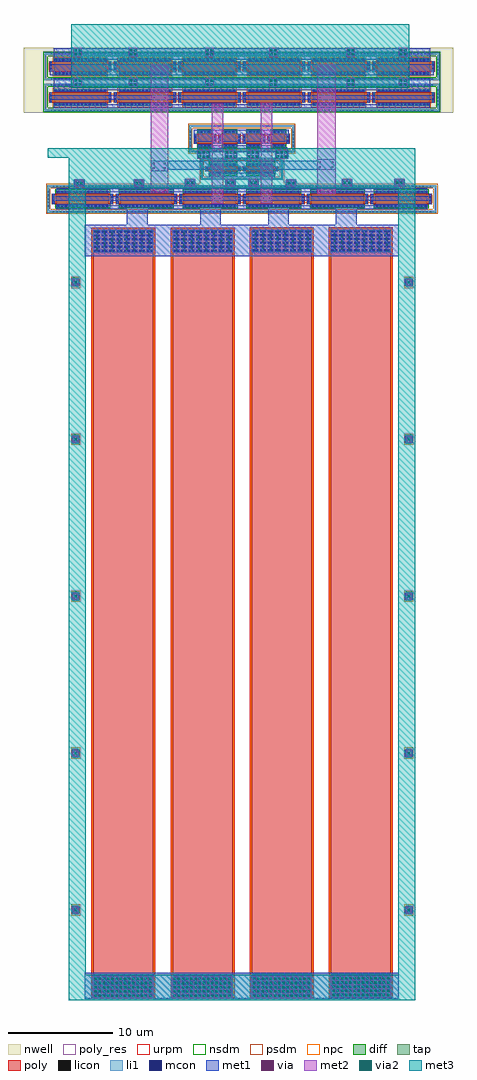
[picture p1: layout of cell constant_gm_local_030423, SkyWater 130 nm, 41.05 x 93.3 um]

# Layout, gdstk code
import gdstk
lib = gdstk.Library(unit=1e-6, precision=1e-09)
def R(c, l, rs):  # rectangles x0, y0, x1, y1
    for r in rs: c.add(gdstk.rectangle(r[:2], r[2:], *l))
def A(c, l, x, y, w, h, nx, ny, dx, dy):  # array of equal rectangles
    R(c, l, [(x+i*dx, y+j*dy, x+i*dx+w, y+j*dy+h) for i in range(nx) for j in range(ny)])
nwell = (64, 20)
diff = (65, 20)
tap = (65, 44)
poly_res = (66, 13)
poly = (66, 20)
licon = (66, 44)
li1 = (67, 20)
mcon = (67, 44)
met1 = (68, 20)
via = (68, 44)
met2 = (69, 20)
via2 = (69, 44)
met3 = (70, 20)
urpm = (79, 20)
nsdm = (93, 44)
psdm = (94, 20)
npc = (95, 20)

constant_gm_local_030423 = lib.new_cell('constant_gm_local_030423')
R(constant_gm_local_030423, nwell, [(-19.05,9.7,19.04,9.705), (-20.85,9.705,20.2,15.91)])
A(constant_gm_local_030423, diff, -17.725, 0.69, 5, 1.58, 6, 1, 6.09, 0)
A(constant_gm_local_030423, diff, -4.15, 6.44, 1.25, 1.58, 4, 1, 2.34, 0)
A(constant_gm_local_030423, diff, -17.955, 10.39, 5, 1.58, 6, 2, 6.18, 2.95)
R(constant_gm_local_030423, diff, [(-3.05,3.815,-0.55,4.895), (0.54,3.815,3.04,4.895)])
A(constant_gm_local_030423, tap, -16.2, -66.92, 0.6, 0.84, 1, 5, 0, 15)
A(constant_gm_local_030423, tap, 15.65, -66.92, 0.6, 0.84, 1, 5, 0, 15)
R(constant_gm_local_030423, tap, [(-18.595,0.18,18.595,0.35), (-18.595,0.35,-18.425,2.61), (18.425,0.35,18.595,2.61), (-18.595,2.61,18.595,2.78), (-3.92,3.305,3.91,3.475), (-3.92,3.475,-3.75,5.235), (3.74,3.475,3.91,5.235), (-3.92,5.235,3.91,5.405), (-5.02,5.93,4.99,6.1), (-5.02,6.1,-4.85,8.36), (4.82,6.1,4.99,8.36), (-5.02,8.36,4.99,8.53), (-18.87,9.88,18.86,10.05), (-18.87,10.05,-18.7,12.31), (18.69,10.05,18.86,12.31), (-18.87,12.31,18.86,12.48), (-18.87,12.83,18.86,13), (-18.87,13,-18.7,15.26), (18.69,13,18.86,15.26), (-18.87,15.26,18.86,15.43)])
R(constant_gm_local_030423, poly_res, [(-14.215,-72.7,-8.485,-3.58), (-6.615,-72.7,-0.885,-3.58), (0.935,-72.67,6.665,-3.55), (8.485,-72.67,14.215,-3.55)])
A(constant_gm_local_030423, poly, -18.165, 0.98, 5.88, 1, 6, 1, 6.09, 0)
A(constant_gm_local_030423, poly, -4.59, 6.73, 2.13, 1, 4, 1, 2.34, 0)
A(constant_gm_local_030423, poly, -18.44, 10.68, 5.97, 1, 6, 2, 6.18, 2.95)
R(constant_gm_local_030423, poly, [(-14.215,-74.8,-8.485,-1.48), (-6.615,-74.8,-0.885,-1.48), (0.935,-74.77,6.665,-1.45), (8.485,-74.77,14.215,-1.45), (-3.49,4.105,-0.11,4.605), (0.1,4.105,3.48,4.605)])
A(constant_gm_local_030423, licon, -13.93, -74.72, 0.19, 2, 8, 2, 0.71, 71.16)
A(constant_gm_local_030423, licon, -6.33, -74.72, 0.19, 2, 8, 2, 0.71, 71.16)
A(constant_gm_local_030423, licon, 1.22, -74.69, 0.19, 2, 8, 2, 0.71, 71.16)
A(constant_gm_local_030423, licon, 8.77, -74.69, 0.19, 2, 8, 2, 0.71, 71.16)
A(constant_gm_local_030423, licon, -18.105, 0.18, 0.17, 0.17, 107, 2, 0.34, 2.43)
A(constant_gm_local_030423, licon, -18.595, 0.715, 0.17, 0.17, 1, 5, 0, 0.34)
A(constant_gm_local_030423, licon, 18.425, 0.715, 0.17, 0.17, 1, 5, 0, 0.34)
A(constant_gm_local_030423, licon, -17.52, 0.75, 0.17, 0.17, 14, 2, 0.34, 1.29)
A(constant_gm_local_030423, licon, -11.43, 0.75, 0.17, 0.17, 14, 2, 0.34, 1.29)
A(constant_gm_local_030423, licon, -5.34, 0.75, 0.17, 0.17, 14, 2, 0.34, 1.29)
A(constant_gm_local_030423, licon, 0.75, 0.75, 0.17, 0.17, 14, 2, 0.34, 1.29)
A(constant_gm_local_030423, licon, 6.84, 0.75, 0.17, 0.17, 14, 2, 0.34, 1.29)
A(constant_gm_local_030423, licon, 12.93, 0.75, 0.17, 0.17, 14, 2, 0.34, 1.29)
A(constant_gm_local_030423, licon, -3.32, 3.305, 0.17, 0.17, 20, 2, 0.34, 1.93)
A(constant_gm_local_030423, licon, -2.905, 3.875, 0.17, 0.17, 7, 2, 0.34, 0.79)
A(constant_gm_local_030423, licon, 0.685, 3.875, 0.17, 0.17, 7, 2, 0.34, 0.79)
A(constant_gm_local_030423, licon, -3.92, 3.93, 0.17, 0.17, 1, 3, 0, 0.34)
A(constant_gm_local_030423, licon, 3.74, 3.93, 0.17, 0.17, 1, 3, 0, 0.34)
A(constant_gm_local_030423, licon, -4.52, 5.93, 0.17, 0.17, 27, 2, 0.34, 2.43)
A(constant_gm_local_030423, licon, -5.02, 6.465, 0.17, 0.17, 1, 5, 0, 0.34)
A(constant_gm_local_030423, licon, 4.82, 6.465, 0.17, 0.17, 1, 5, 0, 0.34)
A(constant_gm_local_030423, licon, -3.95, 6.5, 0.17, 0.17, 3, 2, 0.34, 1.29)
A(constant_gm_local_030423, licon, -1.61, 6.5, 0.17, 0.17, 3, 2, 0.34, 1.29)
A(constant_gm_local_030423, licon, 0.73, 6.5, 0.17, 0.17, 3, 2, 0.34, 1.29)
A(constant_gm_local_030423, licon, 3.07, 6.5, 0.17, 0.17, 3, 2, 0.34, 1.29)
A(constant_gm_local_030423, licon, -18.28, 9.88, 0.17, 0.17, 108, 2, 0.34, 2.43)
A(constant_gm_local_030423, licon, -18.87, 10.415, 0.17, 0.17, 1, 5, 0, 0.34)
A(constant_gm_local_030423, licon, 18.69, 10.415, 0.17, 0.17, 1, 5, 0, 0.34)
A(constant_gm_local_030423, licon, -17.75, 10.45, 0.17, 0.17, 14, 2, 0.34, 1.29)
A(constant_gm_local_030423, licon, -11.57, 10.45, 0.17, 0.17, 14, 2, 0.34, 1.29)
A(constant_gm_local_030423, licon, -5.39, 10.45, 0.17, 0.17, 14, 2, 0.34, 1.29)
A(constant_gm_local_030423, licon, 0.79, 10.45, 0.17, 0.17, 14, 2, 0.34, 1.29)
A(constant_gm_local_030423, licon, 6.97, 10.45, 0.17, 0.17, 14, 2, 0.34, 1.29)
A(constant_gm_local_030423, licon, 13.15, 10.45, 0.17, 0.17, 14, 2, 0.34, 1.29)
A(constant_gm_local_030423, licon, -18.28, 12.83, 0.17, 0.17, 108, 2, 0.34, 2.43)
A(constant_gm_local_030423, licon, -18.87, 13.365, 0.17, 0.17, 1, 5, 0, 0.34)
A(constant_gm_local_030423, licon, 18.69, 13.365, 0.17, 0.17, 1, 5, 0, 0.34)
A(constant_gm_local_030423, licon, -17.75, 13.4, 0.17, 0.17, 14, 2, 0.34, 1.29)
A(constant_gm_local_030423, licon, -11.57, 13.4, 0.17, 0.17, 14, 2, 0.34, 1.29)
A(constant_gm_local_030423, licon, -5.39, 13.4, 0.17, 0.17, 14, 2, 0.34, 1.29)
A(constant_gm_local_030423, licon, 0.79, 13.4, 0.17, 0.17, 14, 2, 0.34, 1.29)
A(constant_gm_local_030423, licon, 6.97, 13.4, 0.17, 0.17, 14, 2, 0.34, 1.29)
A(constant_gm_local_030423, licon, 13.15, 13.4, 0.17, 0.17, 14, 2, 0.34, 1.29)
R(constant_gm_local_030423, licon, [(-16.155,-66.755,-15.985,-66.585), (-15.815,-66.755,-15.645,-66.585), (15.695,-66.755,15.865,-66.585), (16.035,-66.755,16.205,-66.585), (-16.155,-66.415,-15.985,-66.245), (-15.815,-66.415,-15.645,-66.245), (15.695,-66.415,15.865,-66.245), (16.035,-66.415,16.205,-66.245), (-16.155,-51.755,-15.985,-51.585), (-15.815,-51.755,-15.645,-51.585), (15.695,-51.755,15.865,-51.585), (16.035,-51.755,16.205,-51.585), (-16.155,-51.415,-15.985,-51.245), (-15.815,-51.415,-15.645,-51.245), (15.695,-51.415,15.865,-51.245), (16.035,-51.415,16.205,-51.245), (-16.155,-36.755,-15.985,-36.585), (-15.815,-36.755,-15.645,-36.585), (15.695,-36.755,15.865,-36.585), (16.035,-36.755,16.205,-36.585), (-16.155,-36.415,-15.985,-36.245), (-15.815,-36.415,-15.645,-36.245), (15.695,-36.415,15.865,-36.245), (16.035,-36.415,16.205,-36.245), (-16.155,-21.755,-15.985,-21.585), (-15.815,-21.755,-15.645,-21.585), (15.695,-21.755,15.865,-21.585), (16.035,-21.755,16.205,-21.585), (-16.155,-21.415,-15.985,-21.245), (-15.815,-21.415,-15.645,-21.245), (15.695,-21.415,15.865,-21.245), (16.035,-21.415,16.205,-21.245), (-16.155,-6.755,-15.985,-6.585), (-15.815,-6.755,-15.645,-6.585), (15.695,-6.755,15.865,-6.585), (16.035,-6.755,16.205,-6.585), (-16.155,-6.415,-15.985,-6.245), (-15.815,-6.415,-15.645,-6.245), (15.695,-6.415,15.865,-6.245), (16.035,-6.415,16.205,-6.245), (-18.085,1.225,-17.915,1.395), (-12.535,1.225,-12.365,1.395), (-11.995,1.225,-11.825,1.395), (-6.445,1.225,-6.275,1.395), (-5.905,1.225,-5.735,1.395), (-0.355,1.225,-0.185,1.395), (0.185,1.225,0.355,1.395), (5.735,1.225,5.905,1.395), (6.275,1.225,6.445,1.395), (11.825,1.225,11.995,1.395), (12.365,1.225,12.535,1.395), (17.915,1.225,18.085,1.395), (-18.085,1.565,-17.915,1.735), (-12.535,1.565,-12.365,1.735), (-11.995,1.565,-11.825,1.735), (-6.445,1.565,-6.275,1.735), (-5.905,1.565,-5.735,1.735), (-0.355,1.565,-0.185,1.735), (0.185,1.565,0.355,1.735), (5.735,1.565,5.905,1.735), (6.275,1.565,6.445,1.735), (11.825,1.565,11.995,1.735), (12.365,1.565,12.535,1.735), (17.915,1.565,18.085,1.735), (-3.41,4.27,-3.24,4.44), (-0.36,4.27,-0.19,4.44), (0.18,4.27,0.35,4.44), (3.23,4.27,3.4,4.44), (-4.51,6.975,-4.34,7.145), (-2.71,6.975,-2.54,7.145), (-2.17,6.975,-2,7.145), (-0.37,6.975,-0.2,7.145), (0.17,6.975,0.34,7.145), (1.97,6.975,2.14,7.145), (2.51,6.975,2.68,7.145), (4.31,6.975,4.48,7.145), (-4.51,7.315,-4.34,7.485), (-2.71,7.315,-2.54,7.485), (-2.17,7.315,-2,7.485), (-0.37,7.315,-0.2,7.485), (0.17,7.315,0.34,7.485), (1.97,7.315,2.14,7.485), (2.51,7.315,2.68,7.485), (4.31,7.315,4.48,7.485), (-18.36,10.925,-18.19,11.095), (-12.72,10.925,-12.55,11.095), (-12.18,10.925,-12.01,11.095), (-6.54,10.925,-6.37,11.095), (-6,10.925,-5.83,11.095), (-0.36,10.925,-0.19,11.095), (0.18,10.925,0.35,11.095), (5.82,10.925,5.99,11.095), (6.36,10.925,6.53,11.095), (12,10.925,12.17,11.095), (12.54,10.925,12.71,11.095), (18.18,10.925,18.35,11.095), (-18.36,11.265,-18.19,11.435), (-12.72,11.265,-12.55,11.435), (-12.18,11.265,-12.01,11.435), (-6.54,11.265,-6.37,11.435), (-6,11.265,-5.83,11.435), (-0.36,11.265,-0.19,11.435), (0.18,11.265,0.35,11.435), (5.82,11.265,5.99,11.435), (6.36,11.265,6.53,11.435), (12,11.265,12.17,11.435), (12.54,11.265,12.71,11.435), (18.18,11.265,18.35,11.435), (-18.36,13.875,-18.19,14.045), (-12.72,13.875,-12.55,14.045), (-12.18,13.875,-12.01,14.045), (-6.54,13.875,-6.37,14.045), (-6,13.875,-5.83,14.045), (-0.36,13.875,-0.19,14.045), (0.18,13.875,0.35,14.045), (5.82,13.875,5.99,14.045), (6.36,13.875,6.53,14.045), (12,13.875,12.17,14.045), (12.54,13.875,12.71,14.045), (18.18,13.875,18.35,14.045), (-18.36,14.215,-18.19,14.385), (-12.72,14.215,-12.55,14.385), (-12.18,14.215,-12.01,14.385), (-6.54,14.215,-6.37,14.385), (-6,14.215,-5.83,14.385), (-0.36,14.215,-0.19,14.385), (0.18,14.215,0.35,14.385), (5.82,14.215,5.99,14.385), (6.36,14.215,6.53,14.385), (12,14.215,12.17,14.385), (12.54,14.215,12.71,14.385), (18.18,14.215,18.35,14.385)])
A(constant_gm_local_030423, li1, -16.2, -66.88, 0.6, 0.76, 1, 5, 0, 15)
A(constant_gm_local_030423, li1, 15.65, -66.88, 0.6, 0.76, 1, 5, 0, 15)
A(constant_gm_local_030423, li1, -17.745, 0.75, 5.04, 0.17, 6, 2, 6.09, 1.29)
A(constant_gm_local_030423, li1, -4.17, 6.5, 1.29, 0.17, 4, 2, 2.34, 1.29)
A(constant_gm_local_030423, li1, -17.975, 10.45, 5.04, 0.17, 6, 2, 6.18, 1.29)
A(constant_gm_local_030423, li1, -17.975, 13.4, 5.04, 0.17, 6, 2, 6.18, 1.29)
R(constant_gm_local_030423, li1, [(-14.215,-74.8,-8.485,-72.64), (-6.615,-74.8,-0.885,-72.64), (0.935,-74.77,6.665,-72.61), (8.485,-74.77,14.215,-72.61), (-14.215,-3.64,-8.485,-1.48), (-6.615,-3.64,-0.885,-1.48), (0.935,-3.61,6.665,-1.45), (8.485,-3.61,14.215,-1.45), (-18.595,0.18,18.595,0.35), (-18.595,0.35,-18.425,2.61), (18.425,0.35,18.595,2.61), (-18.085,0.98,-17.915,1.98), (-12.535,0.98,-12.365,1.98), (-11.995,0.98,-11.825,1.98), (-6.445,0.98,-6.275,1.98), (-5.905,0.98,-5.735,1.98), (-0.355,0.98,-0.185,1.98), (0.185,0.98,0.355,1.98), (5.735,0.98,5.905,1.98), (6.275,0.98,6.445,1.98), (11.825,0.98,11.995,1.98), (12.365,0.98,12.535,1.98), (17.915,0.98,18.085,1.98), (-18.595,2.61,18.595,2.78), (-16,2.78,-15.1,3.3), (-10.3,2.78,-9.4,3.3), (-5.4,2.78,-4.5,3.35), (-1.55,2.78,-0.65,3.305), (0.65,2.78,1.55,3.305), (4.25,2.78,5.15,3.3), (9.6,2.78,10.5,3.35), (14.6,2.78,15.5,3.35), (-3.92,3.305,3.91,3.475), (-3.92,3.475,-3.75,5.235), (3.74,3.475,3.91,5.235), (-3.07,3.875,-0.53,4.045), (0.52,3.875,3.06,4.045), (-3.41,4.105,-3.24,4.605), (-0.36,4.105,-0.19,4.605), (0.18,4.105,0.35,4.605), (3.23,4.105,3.4,4.605), (-3.07,4.665,-0.53,4.835), (0.52,4.665,3.06,4.835), (-3.92,5.235,3.91,5.35), (-4.2,5.35,4.35,5.405), (-4.2,5.405,-3.1,5.93), (-1.6,5.405,-0.5,5.93), (0.5,5.405,1.6,5.93), (3.25,5.405,4.35,5.93), (-5.02,5.93,4.99,6.1), (-5.02,6.1,-4.85,8.36), (4.82,6.1,4.99,8.36), (-4.51,6.73,-4.34,7.73), (-2.71,6.73,-2.54,7.73), (-2.17,6.73,-2,7.73), (-0.37,6.73,-0.2,7.73), (0.17,6.73,0.34,7.73), (1.97,6.73,2.14,7.73), (2.51,6.73,2.68,7.73), (4.31,6.73,4.48,7.73), (-5.02,8.36,4.99,8.53), (-18.87,9.88,18.86,10.05), (-18.87,10.05,-18.7,12.31), (18.69,10.05,18.86,12.31), (-18.36,10.68,-18.19,11.68), (-12.72,10.68,-12.55,11.68), (-12.18,10.68,-12.01,11.68), (-6.54,10.68,-6.37,11.68), (-6,10.68,-5.83,11.68), (-0.36,10.68,-0.19,11.68), (0.18,10.68,0.35,11.68), (5.82,10.68,5.99,11.68), (6.36,10.68,6.53,11.68), (12,10.68,12.17,11.68), (12.54,10.68,12.71,11.68), (18.18,10.68,18.35,11.68), (-16.1,12.2,-15.3,12.31), (-10.8,12.2,-10,12.31), (-3.5,12.2,-2.7,12.31), (2.6,12.2,3.4,12.31), (10,12.2,10.8,12.31), (15,12.2,15.8,12.31), (-18.87,12.31,18.86,12.48), (-16.1,12.48,-15.3,12.83), (-10.8,12.48,-10,12.83), (-3.5,12.48,-2.7,12.83), (2.6,12.48,3.4,12.83), (10,12.48,10.8,12.83), (15,12.48,15.8,12.83), (-18.87,12.83,18.86,13), (-18.87,13,-18.7,15.26), (18.69,13,18.86,15.26), (-18.36,13.63,-18.19,14.63), (-12.72,13.63,-12.55,14.63), (-12.18,13.63,-12.01,14.63), (-6.54,13.63,-6.37,14.63), (-6,13.63,-5.83,14.63), (-0.36,13.63,-0.19,14.63), (0.18,13.63,0.35,14.63), (5.82,13.63,5.99,14.63), (6.36,13.63,6.53,14.63), (12,13.63,12.17,14.63), (12.54,13.63,12.71,14.63), (18.18,13.63,18.35,14.63), (-16.1,15.1,-15.3,15.26), (-10.8,15.1,-10,15.26), (-3.5,15.1,-2.7,15.26), (2.6,15.1,3.4,15.26), (10,15.1,10.8,15.26), (15,15.1,15.8,15.26), (-18.87,15.26,18.86,15.43), (-16.1,15.43,-15.3,15.9), (-10.8,15.43,-10,15.9), (-3.5,15.43,-2.7,15.9), (2.6,15.43,3.4,15.9), (10,15.43,10.8,15.9), (15,15.43,15.8,15.9)])
A(constant_gm_local_030423, mcon, -14.135, -74.705, 0.17, 0.17, 16, 6, 0.36, 0.36)
A(constant_gm_local_030423, mcon, -6.535, -74.705, 0.17, 0.17, 16, 6, 0.36, 0.36)
A(constant_gm_local_030423, mcon, 1.015, -74.675, 0.17, 0.17, 16, 6, 0.36, 0.36)
A(constant_gm_local_030423, mcon, 8.565, -74.675, 0.17, 0.17, 16, 6, 0.36, 0.36)
A(constant_gm_local_030423, mcon, -14.135, -3.55, 0.17, 0.17, 16, 6, 0.36, 0.36)
A(constant_gm_local_030423, mcon, -6.535, -3.55, 0.17, 0.17, 16, 6, 0.36, 0.36)
A(constant_gm_local_030423, mcon, 1.015, -3.52, 0.17, 0.17, 16, 6, 0.36, 0.36)
A(constant_gm_local_030423, mcon, 8.565, -3.52, 0.17, 0.17, 16, 6, 0.36, 0.36)
A(constant_gm_local_030423, mcon, -17.65, 0.75, 0.17, 0.17, 14, 2, 0.36, 1.29)
A(constant_gm_local_030423, mcon, -11.56, 0.75, 0.17, 0.17, 14, 2, 0.36, 1.29)
A(constant_gm_local_030423, mcon, -5.47, 0.75, 0.17, 0.17, 14, 2, 0.36, 1.29)
A(constant_gm_local_030423, mcon, 0.62, 0.75, 0.17, 0.17, 14, 2, 0.36, 1.29)
A(constant_gm_local_030423, mcon, 6.71, 0.75, 0.17, 0.17, 14, 2, 0.36, 1.29)
A(constant_gm_local_030423, mcon, 12.8, 0.75, 0.17, 0.17, 14, 2, 0.36, 1.29)
A(constant_gm_local_030423, mcon, -15.995, 2.71, 0.17, 0.17, 3, 2, 0.36, 0.36)
A(constant_gm_local_030423, mcon, -10.295, 2.71, 0.17, 0.17, 3, 2, 0.36, 0.36)
A(constant_gm_local_030423, mcon, 4.255, 2.71, 0.17, 0.17, 3, 2, 0.36, 0.36)
A(constant_gm_local_030423, mcon, -5.395, 2.76, 0.17, 0.17, 3, 2, 0.36, 0.36)
A(constant_gm_local_030423, mcon, -1.545, 2.76, 0.17, 0.17, 3, 2, 0.36, 0.36)
A(constant_gm_local_030423, mcon, 0.655, 2.76, 0.17, 0.17, 3, 2, 0.36, 0.36)
A(constant_gm_local_030423, mcon, 9.605, 2.76, 0.17, 0.17, 3, 2, 0.36, 0.36)
A(constant_gm_local_030423, mcon, 14.605, 2.76, 0.17, 0.17, 3, 2, 0.36, 0.36)
A(constant_gm_local_030423, mcon, -2.965, 3.875, 0.17, 0.17, 7, 2, 0.36, 0.79)
A(constant_gm_local_030423, mcon, 0.625, 3.875, 0.17, 0.17, 7, 2, 0.36, 0.79)
A(constant_gm_local_030423, mcon, -4.095, 5.46, 0.17, 0.17, 3, 2, 0.36, 0.36)
A(constant_gm_local_030423, mcon, -1.495, 5.46, 0.17, 0.17, 3, 2, 0.36, 0.36)
A(constant_gm_local_030423, mcon, 0.605, 5.46, 0.17, 0.17, 3, 2, 0.36, 0.36)
A(constant_gm_local_030423, mcon, 3.355, 5.46, 0.17, 0.17, 3, 2, 0.36, 0.36)
A(constant_gm_local_030423, mcon, -3.97, 6.5, 0.17, 0.17, 3, 2, 0.36, 1.29)
A(constant_gm_local_030423, mcon, -1.63, 6.5, 0.17, 0.17, 3, 2, 0.36, 1.29)
A(constant_gm_local_030423, mcon, 0.71, 6.5, 0.17, 0.17, 3, 2, 0.36, 1.29)
A(constant_gm_local_030423, mcon, 3.05, 6.5, 0.17, 0.17, 3, 2, 0.36, 1.29)
A(constant_gm_local_030423, mcon, -17.88, 10.45, 0.17, 0.17, 14, 2, 0.36, 1.29)
A(constant_gm_local_030423, mcon, -11.7, 10.45, 0.17, 0.17, 14, 2, 0.36, 1.29)
A(constant_gm_local_030423, mcon, -5.52, 10.45, 0.17, 0.17, 14, 2, 0.36, 1.29)
A(constant_gm_local_030423, mcon, 0.66, 10.45, 0.17, 0.17, 14, 2, 0.36, 1.29)
A(constant_gm_local_030423, mcon, 6.84, 10.45, 0.17, 0.17, 14, 2, 0.36, 1.29)
A(constant_gm_local_030423, mcon, 13.02, 10.45, 0.17, 0.17, 14, 2, 0.36, 1.29)
A(constant_gm_local_030423, mcon, -17.88, 13.4, 0.17, 0.17, 14, 2, 0.36, 1.29)
A(constant_gm_local_030423, mcon, -11.7, 13.4, 0.17, 0.17, 14, 2, 0.36, 1.29)
A(constant_gm_local_030423, mcon, -5.52, 13.4, 0.17, 0.17, 14, 2, 0.36, 1.29)
A(constant_gm_local_030423, mcon, 0.66, 13.4, 0.17, 0.17, 14, 2, 0.36, 1.29)
A(constant_gm_local_030423, mcon, 6.84, 13.4, 0.17, 0.17, 14, 2, 0.36, 1.29)
A(constant_gm_local_030423, mcon, 13.02, 13.4, 0.17, 0.17, 14, 2, 0.36, 1.29)
R(constant_gm_local_030423, mcon, [(-16.165,-66.765,-15.995,-66.595), (-15.805,-66.765,-15.635,-66.595), (15.685,-66.765,15.855,-66.595), (16.045,-66.765,16.215,-66.595), (-16.165,-66.405,-15.995,-66.235), (-15.805,-66.405,-15.635,-66.235), (15.685,-66.405,15.855,-66.235), (16.045,-66.405,16.215,-66.235), (-16.165,-51.765,-15.995,-51.595), (-15.805,-51.765,-15.635,-51.595), (15.685,-51.765,15.855,-51.595), (16.045,-51.765,16.215,-51.595), (-16.165,-51.405,-15.995,-51.235), (-15.805,-51.405,-15.635,-51.235), (15.685,-51.405,15.855,-51.235), (16.045,-51.405,16.215,-51.235), (-16.165,-36.765,-15.995,-36.595), (-15.805,-36.765,-15.635,-36.595), (15.685,-36.765,15.855,-36.595), (16.045,-36.765,16.215,-36.595), (-16.165,-36.405,-15.995,-36.235), (-15.805,-36.405,-15.635,-36.235), (15.685,-36.405,15.855,-36.235), (16.045,-36.405,16.215,-36.235), (-16.165,-21.765,-15.995,-21.595), (-15.805,-21.765,-15.635,-21.595), (15.685,-21.765,15.855,-21.595), (16.045,-21.765,16.215,-21.595), (-16.165,-21.405,-15.995,-21.235), (-15.805,-21.405,-15.635,-21.235), (15.685,-21.405,15.855,-21.235), (16.045,-21.405,16.215,-21.235), (-16.165,-6.765,-15.995,-6.595), (-15.805,-6.765,-15.635,-6.595), (15.685,-6.765,15.855,-6.595), (16.045,-6.765,16.215,-6.595), (-16.165,-6.405,-15.995,-6.235), (-15.805,-6.405,-15.635,-6.235), (15.685,-6.405,15.855,-6.235), (16.045,-6.405,16.215,-6.235), (-18.085,1.215,-17.915,1.385), (-12.535,1.215,-12.365,1.385), (-11.995,1.215,-11.825,1.385), (-6.445,1.215,-6.275,1.385), (-5.905,1.215,-5.735,1.385), (-0.355,1.215,-0.185,1.385), (0.185,1.215,0.355,1.385), (5.735,1.215,5.905,1.385), (6.275,1.215,6.445,1.385), (11.825,1.215,11.995,1.385), (12.365,1.215,12.535,1.385), (17.915,1.215,18.085,1.385), (-18.085,1.575,-17.915,1.745), (-12.535,1.575,-12.365,1.745), (-11.995,1.575,-11.825,1.745), (-6.445,1.575,-6.275,1.745), (-5.905,1.575,-5.735,1.745), (-0.355,1.575,-0.185,1.745), (0.185,1.575,0.355,1.745), (5.735,1.575,5.905,1.745), (6.275,1.575,6.445,1.745), (11.825,1.575,11.995,1.745), (12.365,1.575,12.535,1.745), (17.915,1.575,18.085,1.745), (-3.41,4.27,-3.24,4.44), (-0.36,4.27,-0.19,4.44), (0.18,4.27,0.35,4.44), (3.23,4.27,3.4,4.44), (-4.51,6.965,-4.34,7.135), (-2.71,6.965,-2.54,7.135), (-2.17,6.965,-2,7.135), (-0.37,6.965,-0.2,7.135), (0.17,6.965,0.34,7.135), (1.97,6.965,2.14,7.135), (2.51,6.965,2.68,7.135), (4.31,6.965,4.48,7.135), (-4.51,7.325,-4.34,7.495), (-2.71,7.325,-2.54,7.495), (-2.17,7.325,-2,7.495), (-0.37,7.325,-0.2,7.495), (0.17,7.325,0.34,7.495), (1.97,7.325,2.14,7.495), (2.51,7.325,2.68,7.495), (4.31,7.325,4.48,7.495), (-18.36,10.915,-18.19,11.085), (-12.72,10.915,-12.55,11.085), (-12.18,10.915,-12.01,11.085), (-6.54,10.915,-6.37,11.085), (-6,10.915,-5.83,11.085), (-0.36,10.915,-0.19,11.085), (0.18,10.915,0.35,11.085), (5.82,10.915,5.99,11.085), (6.36,10.915,6.53,11.085), (12,10.915,12.17,11.085), (12.54,10.915,12.71,11.085), (18.18,10.915,18.35,11.085), (-18.36,11.275,-18.19,11.445), (-12.72,11.275,-12.55,11.445), (-12.18,11.275,-12.01,11.445), (-6.54,11.275,-6.37,11.445), (-6,11.275,-5.83,11.445), (-0.36,11.275,-0.19,11.445), (0.18,11.275,0.35,11.445), (5.82,11.275,5.99,11.445), (6.36,11.275,6.53,11.445), (12,11.275,12.17,11.445), (12.54,11.275,12.71,11.445), (18.18,11.275,18.35,11.445), (-15.965,12.335,-15.795,12.505), (-15.605,12.335,-15.435,12.505), (-10.665,12.335,-10.495,12.505), (-10.305,12.335,-10.135,12.505), (-3.365,12.335,-3.195,12.505), (-3.005,12.335,-2.835,12.505), (2.735,12.335,2.905,12.505), (3.095,12.335,3.265,12.505), (10.135,12.335,10.305,12.505), (10.495,12.335,10.665,12.505), (15.135,12.335,15.305,12.505), (15.495,12.335,15.665,12.505), (-15.965,12.695,-15.795,12.865), (-15.605,12.695,-15.435,12.865), (-10.665,12.695,-10.495,12.865), (-10.305,12.695,-10.135,12.865), (-3.365,12.695,-3.195,12.865), (-3.005,12.695,-2.835,12.865), (2.735,12.695,2.905,12.865), (3.095,12.695,3.265,12.865), (10.135,12.695,10.305,12.865), (10.495,12.695,10.665,12.865), (15.135,12.695,15.305,12.865), (15.495,12.695,15.665,12.865), (-18.36,13.865,-18.19,14.035), (-12.72,13.865,-12.55,14.035), (-12.18,13.865,-12.01,14.035), (-6.54,13.865,-6.37,14.035), (-6,13.865,-5.83,14.035), (-0.36,13.865,-0.19,14.035), (0.18,13.865,0.35,14.035), (5.82,13.865,5.99,14.035), (6.36,13.865,6.53,14.035), (12,13.865,12.17,14.035), (12.54,13.865,12.71,14.035), (18.18,13.865,18.35,14.035), (-18.36,14.225,-18.19,14.395), (-12.72,14.225,-12.55,14.395), (-12.18,14.225,-12.01,14.395), (-6.54,14.225,-6.37,14.395), (-6,14.225,-5.83,14.395), (-0.36,14.225,-0.19,14.395), (0.18,14.225,0.35,14.395), (5.82,14.225,5.99,14.395), (6.36,14.225,6.53,14.395), (12,14.225,12.17,14.395), (12.54,14.225,12.71,14.395), (18.18,14.225,18.35,14.395), (-15.965,15.235,-15.795,15.405), (-15.605,15.235,-15.435,15.405), (-10.665,15.235,-10.495,15.405), (-10.305,15.235,-10.135,15.405), (-3.365,15.235,-3.195,15.405), (-3.005,15.235,-2.835,15.405), (2.735,15.235,2.905,15.405), (3.095,15.235,3.265,15.405), (10.135,15.235,10.305,15.405), (10.495,15.235,10.665,15.405), (15.135,15.235,15.305,15.405), (15.495,15.235,15.665,15.405), (-15.965,15.595,-15.795,15.765), (-15.605,15.595,-15.435,15.765), (-10.665,15.595,-10.495,15.765), (-10.305,15.595,-10.135,15.765), (-3.365,15.595,-3.195,15.765), (-3.005,15.595,-2.835,15.765), (2.735,15.595,2.905,15.765), (3.095,15.595,3.265,15.765), (10.135,15.595,10.305,15.765), (10.495,15.595,10.665,15.765), (15.135,15.595,15.305,15.765), (15.495,15.595,15.665,15.765)])
A(constant_gm_local_030423, met1, -16.26, -66.83, 0.72, 0.66, 1, 5, 0, 15)
A(constant_gm_local_030423, met1, 15.59, -66.83, 0.72, 0.66, 1, 5, 0, 15)
A(constant_gm_local_030423, met1, -17.725, 0.85, 5, 0.1, 6, 1, 6.09, 0)
A(constant_gm_local_030423, met1, -17.725, 2.01, 5, 0.09, 6, 1, 6.09, 0)
A(constant_gm_local_030423, met1, -4.15, 6.6, 1.25, 0.1, 4, 1, 2.34, 0)
A(constant_gm_local_030423, met1, -11.775, 10.55, 5, 0.1, 4, 1, 6.18, 0)
A(constant_gm_local_030423, met1, -11.775, 11.71, 5, 0.14, 4, 1, 6.18, 0)
A(constant_gm_local_030423, met1, -11.8, 14.6, 5, 0.06, 3, 1, 6.2, 0)
R(constant_gm_local_030423, met1, [(-15,-75,15,-72.5), (-15,-4,15,-1), (-11,-1,-9,0.475), (-4,-1,-2,0.475), (2.5,-1,4.5,0.475), (8.95,-1,11,0.475), (-17.75,0.475,17.7,0.72), (-17.75,0.72,17.725,0.85), (-18.115,1,-17.885,1.3), (-12.565,1,-12.335,1.3), (-12.025,1,-11.795,1.3), (-6.475,1,-6.245,1.3), (-5.935,1,-5.705,1.3), (-0.385,1,-0.155,1.3), (0.155,1,0.385,1.3), (5.705,1,5.935,1.3), (6.245,1,6.475,1.3), (11.795,1,12.025,1.3), (12.335,1,12.565,1.3), (17.885,1,18.115,1.3), (-18.115,1.3,18.115,1.725), (-18.115,1.725,-17.885,1.96), (-12.565,1.725,-12.335,1.96), (-12.025,1.725,-11.795,1.96), (-6.475,1.725,-6.245,1.96), (-5.935,1.725,-5.705,1.96), (-0.385,1.725,-0.155,1.96), (0.155,1.725,0.385,1.96), (5.705,1.725,5.935,1.96), (6.245,1.725,6.475,1.96), (11.795,1.725,12.025,1.96), (12.335,1.725,12.565,1.96), (17.885,1.725,18.115,1.96), (-17.75,2.1,17.725,2.24), (-17.75,2.24,17.7,2.475), (-16.06,2.62,-15.04,3.33), (-10.36,2.62,-9.34,3.33), (4.19,2.62,5.21,3.33), (-5.46,2.67,-4.44,3.38), (-1.61,2.67,-0.59,3.38), (0.59,2.67,1.61,3.38), (9.54,2.67,10.56,3.38), (14.54,2.67,15.56,3.38), (-3.1,3.55,3.15,3.9), (-3.075,3.9,3.1,3.975), (-3.05,3.975,-0.55,4.075), (0.54,3.975,3.04,4.075), (-8.7,4.1,-7.05,4.25), (-3.44,4.125,-3.21,4.25), (-0.39,4.125,-0.16,4.25), (0.15,4.125,0.38,4.25), (3.2,4.125,3.43,4.25), (-8.7,4.25,8.95,5.15), (7.2,5.15,8.95,5.25), (-4.26,5.32,-3.04,6.05), (-1.66,5.32,-0.44,6.05), (0.44,5.32,1.66,6.05), (3.19,5.32,4.41,6.05), (-4.26,6.05,4.41,6.13), (-4.2,6.13,4.35,6.4), (-4.2,6.4,4.15,6.6), (-4.54,6.75,-4.31,6.95), (-2.75,6.75,-1.95,6.95), (-0.4,6.75,0.375,6.95), (1.94,6.75,2.725,6.95), (4.28,6.75,4.51,6.95), (-4.54,6.95,4.51,7.35), (-4.6,7.35,4.51,7.71), (-4.6,7.71,4.5,8.1), (-18,10.15,17.97,10.55), (-18,10.55,-12.955,10.65), (12.945,10.55,17.97,10.65), (-18.39,10.7,-18.16,10.95), (-12.75,10.7,-12.52,10.95), (-12.21,10.7,-11.98,10.95), (-6.57,10.7,-6.34,10.95), (-6.03,10.7,-5.8,10.95), (-0.39,10.7,-0.16,10.95), (0.15,10.7,0.38,10.95), (5.79,10.7,6.02,10.95), (6.33,10.7,6.56,10.95), (11.97,10.7,12.2,10.95), (12.51,10.7,12.74,10.95), (18.15,10.7,18.38,10.95), (-18.4,10.95,18.38,11.4), (-18.39,11.4,-18.16,11.66), (-12.75,11.4,-12.52,11.66), (-12.21,11.4,-11.98,11.66), (-6.57,11.4,-6.34,11.66), (-6.03,11.4,-5.8,11.66), (-0.39,11.4,-0.16,11.66), (0.15,11.4,0.38,11.66), (5.79,11.4,6.02,11.66), (6.33,11.4,6.56,11.66), (11.97,11.4,12.2,11.66), (12.51,11.4,12.74,11.66), (18.15,11.4,18.38,11.66), (-17.955,11.71,-12.955,11.8), (12.945,11.71,17.945,11.8), (-18,11.8,-12.955,11.85), (12.945,11.8,18,11.85), (-18,11.85,18,13), (-16.16,13,-15.24,13.03), (-10.86,13,-9.94,13.03), (-3.56,13,-2.64,13.03), (2.54,13,3.46,13.03), (9.94,13,10.86,13.03), (14.94,13,15.86,13.03), (-18.39,13.29,18.35,13.65), (-18.39,13.65,18.38,14.35), (-18.39,14.35,-18.16,14.61), (-12.75,14.35,-12.52,14.61), (-12.21,14.35,-11.98,14.61), (-6.57,14.35,-6.34,14.61), (-6.03,14.35,-5.8,14.61), (-0.39,14.35,-0.16,14.61), (0.15,14.35,0.38,14.61), (5.79,14.35,6.02,14.61), (6.33,14.35,6.56,14.61), (11.97,14.35,12.2,14.61), (12.51,14.35,12.74,14.61), (18.15,14.35,18.38,14.61), (-18,14.6,-12.9,14.8), (6.7,14.6,11.8,14.8), (12.9,14.6,18,14.8), (-11.8,14.66,-6.775,14.8), (-5.6,14.66,-0.595,14.8), (0.585,14.66,5.6,14.8), (-18,14.8,18,15.9), (-16.16,15.9,-15.24,15.93), (-10.86,15.9,-9.94,15.93), (-3.56,15.9,-2.64,15.93), (2.54,15.9,3.46,15.93), (9.94,15.9,10.86,15.93), (14.94,15.9,15.86,15.93)])
A(constant_gm_local_030423, via, -14.17, -74.75, 0.15, 0.15, 18, 6, 0.32, 0.32)
A(constant_gm_local_030423, via, -6.62, -74.75, 0.15, 0.15, 18, 6, 0.32, 0.32)
A(constant_gm_local_030423, via, 0.98, -74.75, 0.15, 0.15, 18, 6, 0.32, 0.32)
A(constant_gm_local_030423, via, 8.58, -74.7, 0.15, 0.15, 18, 6, 0.32, 0.32)
A(constant_gm_local_030423, via, -15.945, 2.74, 0.15, 0.15, 3, 2, 0.32, 0.32)
A(constant_gm_local_030423, via, -10.245, 2.74, 0.15, 0.15, 3, 2, 0.32, 0.32)
A(constant_gm_local_030423, via, 4.305, 2.74, 0.15, 0.15, 3, 2, 0.32, 0.32)
A(constant_gm_local_030423, via, -5.345, 2.79, 0.15, 0.15, 3, 2, 0.32, 0.32)
A(constant_gm_local_030423, via, -1.495, 2.79, 0.15, 0.15, 3, 2, 0.32, 0.32)
A(constant_gm_local_030423, via, 0.705, 2.79, 0.15, 0.15, 3, 2, 0.32, 0.32)
A(constant_gm_local_030423, via, 9.655, 2.79, 0.15, 0.15, 3, 2, 0.32, 0.32)
A(constant_gm_local_030423, via, 14.655, 2.79, 0.15, 0.15, 3, 2, 0.32, 0.32)
A(constant_gm_local_030423, via, -4.045, 5.49, 0.15, 0.15, 3, 2, 0.32, 0.32)
A(constant_gm_local_030423, via, -1.445, 5.49, 0.15, 0.15, 3, 2, 0.32, 0.32)
A(constant_gm_local_030423, via, 0.655, 5.49, 0.15, 0.15, 3, 2, 0.32, 0.32)
A(constant_gm_local_030423, via, 3.405, 5.49, 0.15, 0.15, 3, 2, 0.32, 0.32)
R(constant_gm_local_030423, via, [(-16.135,-66.735,-15.985,-66.585), (-15.815,-66.735,-15.665,-66.585), (15.715,-66.735,15.865,-66.585), (16.035,-66.735,16.185,-66.585), (-16.135,-66.415,-15.985,-66.265), (-15.815,-66.415,-15.665,-66.265), (15.715,-66.415,15.865,-66.265), (16.035,-66.415,16.185,-66.265), (-16.135,-51.735,-15.985,-51.585), (-15.815,-51.735,-15.665,-51.585), (15.715,-51.735,15.865,-51.585), (16.035,-51.735,16.185,-51.585), (-16.135,-51.415,-15.985,-51.265), (-15.815,-51.415,-15.665,-51.265), (15.715,-51.415,15.865,-51.265), (16.035,-51.415,16.185,-51.265), (-16.135,-36.735,-15.985,-36.585), (-15.815,-36.735,-15.665,-36.585), (15.715,-36.735,15.865,-36.585), (16.035,-36.735,16.185,-36.585), (-16.135,-36.415,-15.985,-36.265), (-15.815,-36.415,-15.665,-36.265), (15.715,-36.415,15.865,-36.265), (16.035,-36.415,16.185,-36.265), (-16.135,-21.735,-15.985,-21.585), (-15.815,-21.735,-15.665,-21.585), (15.715,-21.735,15.865,-21.585), (16.035,-21.735,16.185,-21.585), (-16.135,-21.415,-15.985,-21.265), (-15.815,-21.415,-15.665,-21.265), (15.715,-21.415,15.865,-21.265), (16.035,-21.415,16.185,-21.265), (-16.135,-6.735,-15.985,-6.585), (-15.815,-6.735,-15.665,-6.585), (15.715,-6.735,15.865,-6.585), (16.035,-6.735,16.185,-6.585), (-16.135,-6.415,-15.985,-6.265), (-15.815,-6.415,-15.665,-6.265), (15.715,-6.415,15.865,-6.265), (16.035,-6.415,16.185,-6.265), (-2.7,1.45,-2.55,1.6), (-2.15,1.45,-2,1.6), (2,1.45,2.15,1.6), (2.55,1.45,2.7,1.6), (-8.5,2.2,-8.35,2.35), (-7.4,2.2,-7.25,2.35), (7.4,2.2,7.55,2.35), (8.6,2.2,8.75,2.35), (-2.7,3.7,-2.55,3.85), (-2.15,3.7,-2,3.85), (2,3.7,2.15,3.85), (2.55,3.7,2.7,3.85), (-8.5,4.35,-8.35,4.5), (-7.45,4.35,-7.3,4.5), (7.4,4.45,7.55,4.6), (8.6,4.45,8.75,4.6), (-8.5,4.8,-8.35,4.95), (-7.45,4.8,-7.3,4.95), (7.4,4.9,7.55,5.05), (8.6,4.9,8.75,5.05), (-2.7,7.45,-2.55,7.6), (-2.15,7.45,-2,7.6), (2,7.5,2.15,7.65), (2.55,7.5,2.7,7.65), (-2.7,10.3,-2.55,10.45), (-2.15,10.3,-2,10.45), (2,10.3,2.15,10.45), (2.55,10.3,2.7,10.45), (-8.5,11.1,-8.35,11.25), (-7.4,11.1,-7.25,11.25), (7.4,11.1,7.55,11.25), (8.6,11.1,8.75,11.25), (-15.935,12.365,-15.785,12.515), (-15.615,12.365,-15.465,12.515), (-10.635,12.365,-10.485,12.515), (-10.315,12.365,-10.165,12.515), (-3.335,12.365,-3.185,12.515), (-3.015,12.365,-2.865,12.515), (2.765,12.365,2.915,12.515), (3.085,12.365,3.235,12.515), (10.165,12.365,10.315,12.515), (10.485,12.365,10.635,12.515), (15.165,12.365,15.315,12.515), (15.485,12.365,15.635,12.515), (-15.935,12.685,-15.785,12.835), (-15.615,12.685,-15.465,12.835), (-10.635,12.685,-10.485,12.835), (-10.315,12.685,-10.165,12.835), (-3.335,12.685,-3.185,12.835), (-3.015,12.685,-2.865,12.835), (2.765,12.685,2.915,12.835), (3.085,12.685,3.235,12.835), (10.165,12.685,10.315,12.835), (10.485,12.685,10.635,12.835), (15.165,12.685,15.315,12.835), (15.485,12.685,15.635,12.835), (-8.5,14.05,-8.35,14.2), (-7.4,14.05,-7.25,14.2), (7.4,14.05,7.55,14.2), (8.6,14.05,8.75,14.2), (-15.935,15.265,-15.785,15.415), (-15.615,15.265,-15.465,15.415), (-10.635,15.265,-10.485,15.415), (-10.315,15.265,-10.165,15.415), (-3.335,15.265,-3.185,15.415), (-3.015,15.265,-2.865,15.415), (2.765,15.265,2.915,15.415), (3.085,15.265,3.235,15.415), (10.165,15.265,10.315,15.415), (10.485,15.265,10.635,15.415), (15.165,15.265,15.315,15.415), (15.485,15.265,15.635,15.415), (-15.935,15.585,-15.785,15.735), (-15.615,15.585,-15.465,15.735), (-10.635,15.585,-10.485,15.735), (-10.315,15.585,-10.165,15.735), (-3.335,15.585,-3.185,15.735), (-3.015,15.585,-2.865,15.735), (2.765,15.585,2.915,15.735), (3.085,15.585,3.235,15.735), (10.165,15.585,10.315,15.735), (10.485,15.585,10.635,15.735), (15.165,15.585,15.315,15.735), (15.485,15.585,15.635,15.735)])
A(constant_gm_local_030423, met2, -16.2, -66.85, 0.6, 0.7, 1, 5, 0, 15)
A(constant_gm_local_030423, met2, 15.65, -66.85, 0.6, 0.7, 1, 5, 0, 15)
R(constant_gm_local_030423, met2, [(-14.3,-74.95,-8.45,-72.8), (-6.75,-74.95,-0.9,-72.8), (0.85,-74.95,6.7,-72.8), (8.45,-74.9,14.3,-72.75), (-2.9,1,-1.8,10.6), (1.8,1.05,2.9,10.65), (7.2,1.95,8.95,14.35), (-8.7,2.05,-7.05,14.3), (-16,2.6,-15.1,3.35), (-10.3,2.6,-9.4,3.35), (4.25,2.6,5.15,3.35), (-5.4,2.65,-4.5,3.4), (-1.55,2.65,-0.65,3.4), (0.65,2.65,1.55,3.4), (9.6,2.65,10.5,3.4), (14.6,2.65,15.5,3.4), (-4.2,5.3,-3.1,6.15), (-1.6,5.3,-0.5,6.15), (0.5,5.3,1.6,6.15), (3.25,5.3,4.35,6.15), (-16.1,12.15,-15.3,13.05), (-10.8,12.15,-10,13.05), (-3.5,12.15,-2.7,13.05), (2.6,12.15,3.4,13.05), (10,12.15,10.8,13.05), (15,12.15,15.8,13.05), (-16.1,15.05,-15.3,15.95), (-10.8,15.05,-10,15.95), (-3.5,15.05,-2.7,15.95), (2.6,15.05,3.4,15.95), (10,15.05,10.8,15.95), (15,15.05,15.8,15.95)])
A(constant_gm_local_030423, via2, -14.075, -74.775, 0.2, 0.2, 14, 5, 0.4, 0.4)
A(constant_gm_local_030423, via2, -6.525, -74.775, 0.2, 0.2, 14, 5, 0.4, 0.4)
A(constant_gm_local_030423, via2, 1.075, -74.775, 0.2, 0.2, 14, 5, 0.4, 0.4)
A(constant_gm_local_030423, via2, 8.675, -74.725, 0.2, 0.2, 14, 5, 0.4, 0.4)
A(constant_gm_local_030423, via2, -16, -66.6, 0.2, 0.2, 1, 5, 0, 15)
A(constant_gm_local_030423, via2, 15.85, -66.6, 0.2, 0.2, 1, 5, 0, 15)
A(constant_gm_local_030423, via2, -4.15, 5.425, 0.2, 0.2, 3, 2, 0.4, 0.4)
A(constant_gm_local_030423, via2, -1.55, 5.425, 0.2, 0.2, 3, 2, 0.4, 0.4)
A(constant_gm_local_030423, via2, 0.55, 5.425, 0.2, 0.2, 3, 2, 0.4, 0.4)
A(constant_gm_local_030423, via2, 3.3, 5.425, 0.2, 0.2, 3, 2, 0.4, 0.4)
R(constant_gm_local_030423, via2, [(-15.85,2.875,-15.65,3.075), (-15.45,2.875,-15.25,3.075), (-10.15,2.875,-9.95,3.075), (-9.75,2.875,-9.55,3.075), (4.4,2.875,4.6,3.075), (4.8,2.875,5,3.075), (-5.25,2.925,-5.05,3.125), (-4.85,2.925,-4.65,3.125), (-1.4,2.925,-1.2,3.125), (-1,2.925,-0.8,3.125), (0.8,2.925,1,3.125), (1.2,2.925,1.4,3.125), (9.75,2.925,9.95,3.125), (10.15,2.925,10.35,3.125), (14.75,2.925,14.95,3.125), (15.15,2.925,15.35,3.125), (-16,12.3,-15.8,12.5), (-15.6,12.3,-15.4,12.5), (-10.7,12.3,-10.5,12.5), (-10.3,12.3,-10.1,12.5), (-3.4,12.3,-3.2,12.5), (-3,12.3,-2.8,12.5), (2.7,12.3,2.9,12.5), (3.1,12.3,3.3,12.5), (10.1,12.3,10.3,12.5), (10.5,12.3,10.7,12.5), (15.1,12.3,15.3,12.5), (15.5,12.3,15.7,12.5), (-16,12.7,-15.8,12.9), (-15.6,12.7,-15.4,12.9), (-10.7,12.7,-10.5,12.9), (-10.3,12.7,-10.1,12.9), (-3.4,12.7,-3.2,12.9), (-3,12.7,-2.8,12.9), (2.7,12.7,2.9,12.9), (3.1,12.7,3.3,12.9), (10.1,12.7,10.3,12.9), (10.5,12.7,10.7,12.9), (15.1,12.7,15.3,12.9), (15.5,12.7,15.7,12.9), (-16,15.2,-15.8,15.4), (-15.6,15.2,-15.4,15.4), (-10.7,15.2,-10.5,15.4), (-10.3,15.2,-10.1,15.4), (-3.4,15.2,-3.2,15.4), (-3,15.2,-2.8,15.4), (2.7,15.2,2.9,15.4), (3.1,15.2,3.3,15.4), (10.1,15.2,10.3,15.4), (10.5,15.2,10.7,15.4), (15.1,15.2,15.3,15.4), (15.5,15.2,15.7,15.4), (-16,15.6,-15.8,15.8), (-15.6,15.6,-15.4,15.8), (-10.7,15.6,-10.5,15.8), (-10.3,15.6,-10.1,15.8), (-3.4,15.6,-3.2,15.8), (-3,15.6,-2.8,15.8), (2.7,15.6,2.9,15.8), (3.1,15.6,3.3,15.8), (10.1,15.6,10.3,15.8), (10.5,15.6,10.7,15.8), (15.1,15.6,15.3,15.8), (15.5,15.6,15.7,15.8)])
R(constant_gm_local_030423, met3, [(-16.55,-75.1,16.55,-72.7), (-16.55,-72.7,-14.95,2.5), (14.95,-72.7,16.55,2.5), (-16.55,2.5,16.55,5.4), (-18.55,5.4,16.55,6.3), (-16.3,12.1,16,18.2)])
R(constant_gm_local_030423, urpm, [(-14.415,-75,-8.285,-1.28), (-6.815,-75,-0.685,-1.28), (0.735,-74.97,6.865,-1.25), (8.285,-74.97,14.415,-1.25)])
A(constant_gm_local_030423, nsdm, -17.85, 0.565, 5.25, 1.83, 6, 1, 6.09, 0)
A(constant_gm_local_030423, nsdm, -4.275, 6.315, 1.5, 1.83, 4, 1, 2.34, 0)
R(constant_gm_local_030423, nsdm, [(-3.175,3.69,-0.425,5.02), (0.415,3.69,3.165,5.02), (-18.995,9.755,18.985,10.175), (-18.995,10.175,-18.575,12.185), (18.565,10.175,18.985,12.185), (-18.995,12.185,18.985,13.125), (-18.995,13.125,-18.575,15.135), (18.565,13.125,18.985,15.135), (-18.995,15.135,18.985,15.555)])
A(constant_gm_local_030423, psdm, -16.325, -67.045, 0.85, 1.09, 1, 5, 0, 15)
A(constant_gm_local_030423, psdm, 15.525, -67.045, 0.85, 1.09, 1, 5, 0, 15)
A(constant_gm_local_030423, psdm, -18.08, 10.265, 5.25, 1.83, 6, 2, 6.18, 2.95)
R(constant_gm_local_030423, psdm, [(-14.325,-74.91,-8.375,-1.37), (-6.725,-74.91,-0.775,-1.37), (0.825,-74.88,6.775,-1.34), (8.375,-74.88,14.325,-1.34), (-18.72,0.055,18.72,0.475), (-18.72,0.475,-18.3,2.485), (18.3,0.475,18.72,2.485), (-18.72,2.485,18.72,2.905), (-4.045,2.905,4.035,3.6), (-4.045,3.6,-3.625,5.11), (3.615,3.6,4.035,5.11), (-4.045,5.11,4.035,5.805), (-5.145,5.805,5.115,6.225), (-5.145,6.225,-4.725,8.235), (4.695,6.225,5.115,8.235), (-5.145,8.235,5.115,8.655)])
A(constant_gm_local_030423, npc, -12.635, 1.125, 0.91, 0.71, 5, 1, 6.09, 0)
A(constant_gm_local_030423, npc, -2.81, 6.875, 0.91, 0.71, 3, 1, 2.34, 0)
A(constant_gm_local_030423, npc, -12.82, 10.825, 0.91, 0.71, 5, 2, 6.18, 2.95)
R(constant_gm_local_030423, npc, [(-14.31,-74.895,-8.39,-1.385), (-6.71,-74.895,-0.79,-1.385), (0.84,-74.865,6.76,-1.355), (8.39,-74.865,14.31,-1.355), (-18.185,1.125,-17.815,1.835), (17.815,1.125,18.185,1.835), (-3.51,4.17,-3.14,4.54), (-0.46,4.17,0.45,4.54), (3.13,4.17,3.5,4.54), (-4.61,6.875,-4.24,7.585), (4.21,6.875,4.58,7.585), (-18.46,10.825,-18.09,11.535), (18.08,10.825,18.45,11.535), (-18.46,13.775,-18.09,14.485), (18.08,13.775,18.45,14.485)])

lib.write_gds('constant_gm_local_030423.gds')
